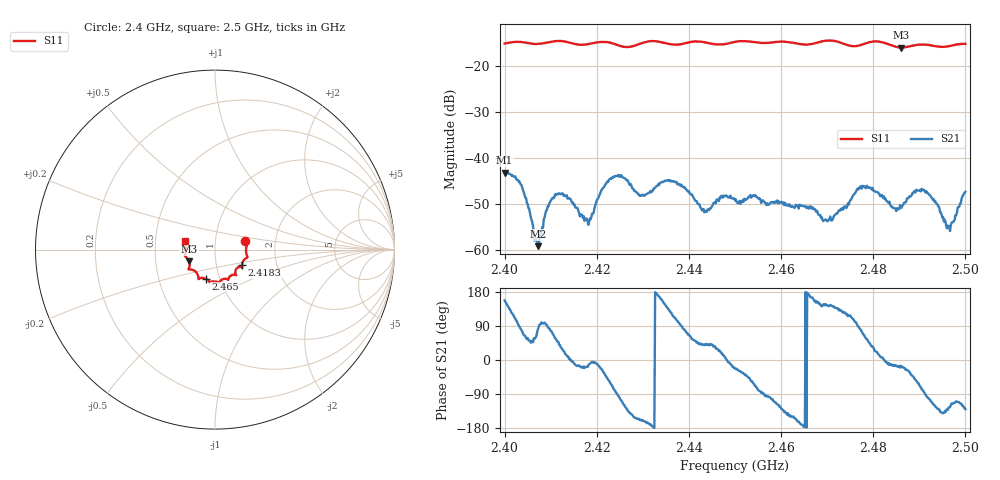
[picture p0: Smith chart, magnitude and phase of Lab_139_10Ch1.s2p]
# Hz S RI R 50
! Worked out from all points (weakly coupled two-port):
!   601 points, 2.4 GHz to 2.5 GHz, reference 50 ohm
!   highest |S21| = -43.18 dB at 2.4 GHz (marker M1); lowest = -59.1 dB at 2.4073 GHz (marker M2)
!   lowest |S11| = -16.0 dB at 2.486 GHz (marker M3), VSWR 1.38, Z = 37.1 - j4.94 ohm
!   |S11| at or under -10 dB: start of sweep to end of sweep
!   S12 and S22 are empty: the file has one direction only
!   S11 on the Smith chart (normalised r, x): 2.4 GHz: 1.40, +0.13; 2.4183 GHz: 1.33, -0.24; 2.465 GHz: 0.86, -0.29; 2.5 GHz: 0.71, +0.07
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2.4e9  0.1689 0.0453  -0.00639 0.00269  0 0  0 0
2.4035e9  0.1793 0.0302  0.000703 0.00512  0 0  0 0
2.407333e9  0.1728 -0.00749  0.000109 0.0011  0 0  0 0
2.409333e9  0.1772 -0.03  0.000128 0.00298  0 0  0 0
2.411333e9  0.1819 -0.0402  0.00257 0.00316  0 0  0 0
2.416667e9  0.155 -0.0684  0.00231 -0.000782  0 0  0 0
2.418333e9  0.1498 -0.0869  0.00196 -0.000409  0 0  0 0
2.4235e9  0.1461 -0.097  0.0019 -0.0058  0 0  0 0
2.429833e9  0.1133 -0.1354  -0.00371 -0.00135  0 0  0 0
2.433333e9  0.1168 -0.1414  -0.00511 0.0009  0 0  0 0
2.4375e9  0.0857 -0.147  -0.00116 0.00506  0 0  0 0
2.443333e9  0.0708 -0.1662  0.002 0.00162  0 0  0 0
2.45e9  0.0251 -0.1806  0.00322 -0.00132  0 0  0 0
2.465e9  -0.0529 -0.162  -0.003 -0.000169  0 0  0 0
2.466667e9  -0.0714 -0.1575  -0.00273 0.000741  0 0  0 0
2.470667e9  -0.0925 -0.1644  -0.00191 0.00132  0 0  0 0
2.478167e9  -0.1346 -0.111  0.0023 0.0043  0 0  0 0
2.483333e9  -0.1422 -0.0959  0.00317 -0.000676  0 0  0 0
2.486e9  -0.144 -0.0649  0.00286 -0.00076  0 0  0 0
2.491e9  -0.1673 -0.033  0.000398 -0.00451  0 0  0 0
2.496333e9  -0.1621 0.0203  -0.00105 -0.00146  0 0  0 0
2.5e9  -0.1668 0.0475  -0.00277 -0.0033  0 0  0 0
